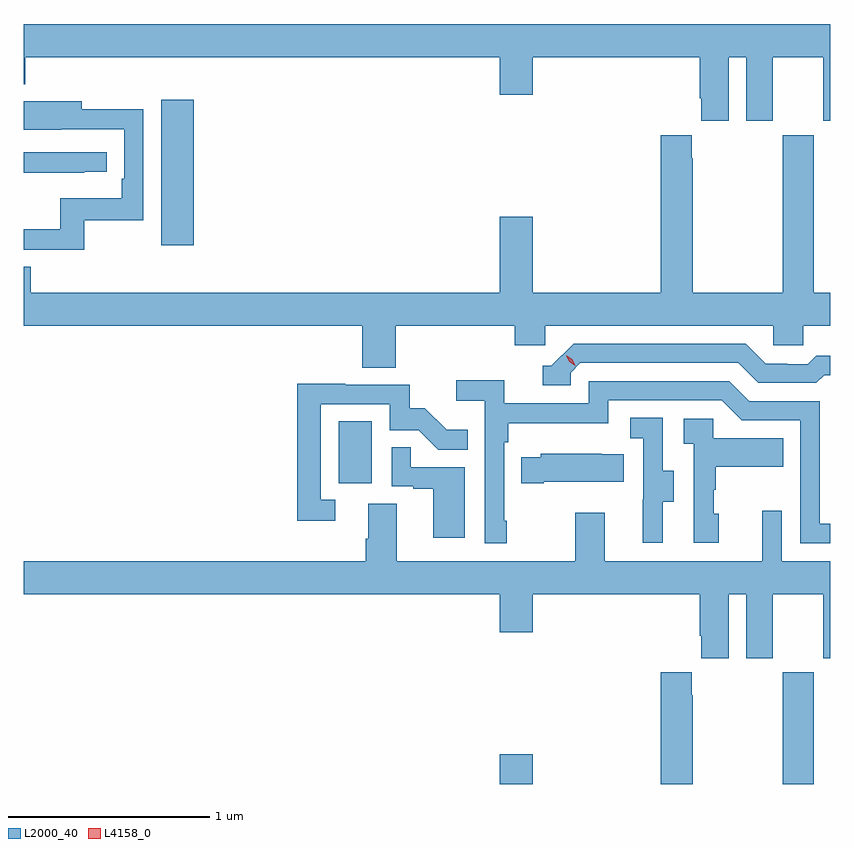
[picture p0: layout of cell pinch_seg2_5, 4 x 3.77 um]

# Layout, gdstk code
import gdstk
lib = gdstk.Library(unit=1e-6, precision=1e-09)
def R(c, l, rs):  # rectangles x0, y0, x1, y1
    for r in rs: c.add(gdstk.rectangle(r[:2], r[2:], *l))
def P(c, l, *ps):  # polygons
    for p in ps: c.add(gdstk.Polygon(p, *l))
L2000_40 = (2000, 40)
L4158_0 = (4158, 0)

pinch_seg2_5 = lib.new_cell('pinch_seg2_5')
R(pinch_seg2_5, L2000_40, [(1142.03,658.683,1142.194,658.831), (1143.433,658.683,1143.588,659.236), (1141.232,660.174,1141.396,660.481), (1140.353,661.356,1140.514,662.077)])
P(pinch_seg2_5, L2000_40, [(1143.166,662.288),(1143.254,662.288),(1143.254,661.971),(1143.385,661.971),(1143.385,662.288),(1143.635,662.288),(1143.635,661.971),(1143.67,661.971),(1143.67,662.452),(1139.67,662.452),(1139.67,662.153),(1139.678,662.153),(1139.678,662.288),(1142.03,662.288),(1142.03,662.1),(1142.194,662.1),(1142.194,662.288),(1143.023,662.288),(1143.023,662.083),(1143.029,662.083),(1143.029,661.971),(1143.166,661.971)],
  [(1139.971,661.479),(1140.264,661.479),(1140.264,662.03),(1139.959,662.03),(1139.959,662.068),(1139.67,662.068),(1139.67,661.928),(1139.855,661.928),(1139.855,661.929),(1140.168,661.929),(1140.168,661.684),(1140.155,661.684),(1140.155,661.588),(1139.85,661.588),(1139.85,661.433),(1139.67,661.433),(1139.67,661.332),(1139.971,661.332)],
  [(1141.514,660.956),(1142.105,660.956),(1142.105,660.858),(1142.256,660.858),(1142.256,660.956),(1143.387,660.956),(1143.387,660.858),(1143.537,660.858),(1143.537,660.956),(1143.67,660.956),(1143.67,661.12),(1143.588,661.12),(1143.588,661.9),(1143.433,661.9),(1143.433,661.12),(1142.988,661.12),(1142.988,661.787),(1142.983,661.787),(1142.983,661.9),(1142.828,661.9),(1142.828,661.12),(1142.194,661.12),(1142.194,661.495),(1142.03,661.495),(1142.03,661.12),(1139.705,661.12),(1139.705,661.247),(1139.67,661.247),(1139.67,660.956),(1141.349,660.956),(1141.349,660.748),(1141.514,660.748)],
  [(1139.969,661.719),(1140.082,661.719),(1140.082,661.815),(1139.67,661.815),(1139.67,661.714),(1139.969,661.714)],
  [(1142.382,660.723),(1142.43,660.771),(1143.213,660.771),(1143.312,660.672),(1143.601,660.672),(1143.64,660.711),(1143.67,660.711),(1143.67,660.808),(1143.601,660.808),(1143.559,660.765),(1143.456,660.765),(1143.456,660.768),(1143.349,660.768),(1143.25,660.867),(1142.397,660.867),(1142.286,660.756),(1142.243,660.756),(1142.243,660.66),(1142.382,660.66)],
  [(1142.065,659.989),(1142.052,659.989),(1142.052,660.377),(1142.072,660.377),(1142.072,660.473),(1142.568,660.473),(1142.568,660.585),(1143.132,660.585),(1143.231,660.486),(1143.522,660.486),(1143.522,659.877),(1143.67,659.877),(1143.67,659.973),(1143.618,659.973),(1143.618,660.582),(1143.268,660.582),(1143.169,660.681),(1142.472,660.681),(1142.472,660.57),(1142.054,660.57),(1142.054,660.686),(1141.815,660.686),(1141.815,660.584),(1141.956,660.584),(1141.956,659.877),(1142.065,659.877)],
  [(1141.216,660.093),(1141.143,660.093),(1141.143,660.567),(1141.485,660.567),(1141.485,660.438),(1141.629,660.438),(1141.727,660.34),(1141.871,660.34),(1141.871,660.439),(1141.767,660.439),(1141.66,660.546),(1141.584,660.546),(1141.584,660.663),(1141.265,660.663),(1141.265,660.668),(1141.027,660.668),(1141.027,659.988),(1141.216,659.988)],
  [(1142.839,660.082),(1142.893,660.082),(1142.893,660.237),(1142.838,660.237),(1142.838,660.5),(1142.679,660.5),(1142.679,660.397),(1142.742,660.397),(1142.742,660.093),(1142.741,660.093),(1142.741,659.88),(1142.839,659.88)],
  [(1143.118,660.024),(1143.093,660.024),(1143.093,660.143),(1143.103,660.143),(1143.103,660.257),(1143.437,660.257),(1143.437,660.397),(1143.09,660.397),(1143.09,660.495),(1142.943,660.495),(1142.943,660.371),(1142.994,660.371),(1142.994,659.88),(1143.118,659.88)],
  [(1141.858,660.255),(1141.589,660.255),(1141.589,660.353),(1141.494,660.353),(1141.494,660.159),(1141.601,660.159),(1141.601,660.147),(1141.7,660.147),(1141.7,659.904),(1141.858,659.904)],
  [(1142.248,660.182),(1142.645,660.182),(1142.645,660.319),(1142.537,660.319),(1142.537,660.322),(1142.235,660.322),(1142.235,660.304),(1142.137,660.304),(1142.137,660.175),(1142.248,660.175)],
  [(1143.166,659.624),(1143.254,659.624),(1143.254,659.307),(1143.385,659.307),(1143.385,659.624),(1143.635,659.624),(1143.635,659.307),(1143.67,659.307),(1143.67,659.788),(1143.429,659.788),(1143.429,660.037),(1143.332,660.037),(1143.332,659.788),(1142.551,659.788),(1142.551,660.028),(1142.404,660.028),(1142.404,659.788),(1141.519,659.788),(1141.519,660.074),(1141.379,660.074),(1141.379,659.9),(1141.367,659.9),(1141.367,659.788),(1139.67,659.788),(1139.67,659.624),(1142.03,659.624),(1142.03,659.436),(1142.194,659.436),(1142.194,659.624),(1143.023,659.624),(1143.023,659.419),(1143.029,659.419),(1143.029,659.307),(1143.166,659.307)],
  [(1142.988,659.123),(1142.983,659.123),(1142.983,659.236),(1142.828,659.236),(1142.828,658.683),(1142.988,658.683)])
P(pinch_seg2_5, L4158_0, [(1142.406,660.757),(1142.376,660.777),(1142.36,660.81),(1142.36,660.81),(1142.361,660.81),(1142.391,660.79),(1142.406,660.758),(1142.406,660.757)])

lib.write_gds('pinch_seg2_5.gds')
